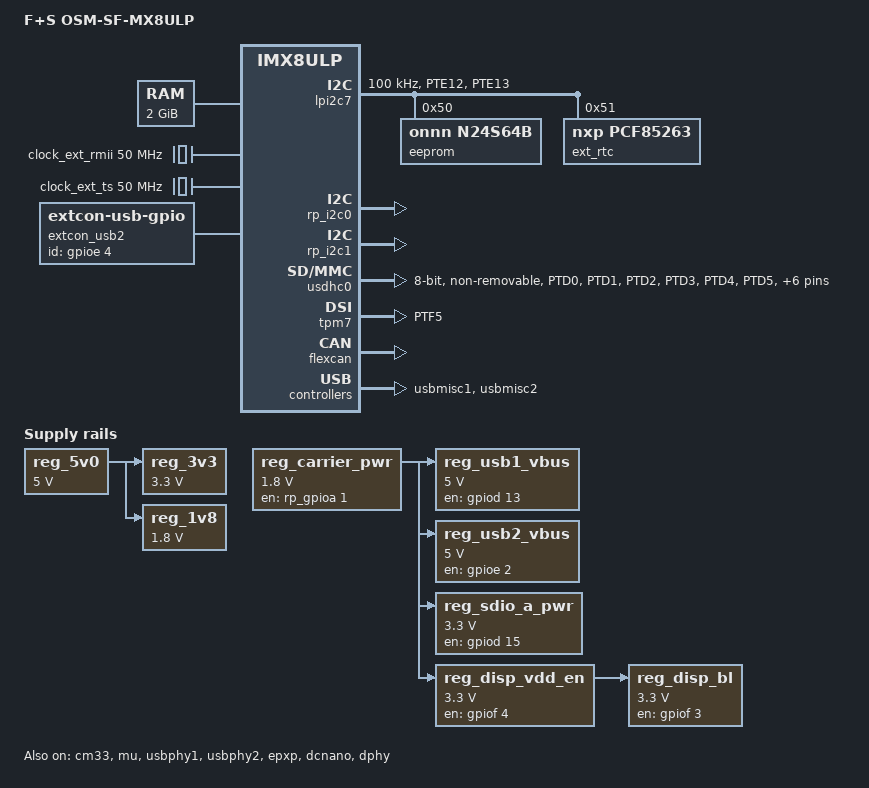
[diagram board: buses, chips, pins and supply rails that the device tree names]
// SPDX-License-Identifier: GPL-2.0
/*
* Copyright 2024 F&S Elektronik Systeme GmbH
*
* This program is free software; you can redistribute it and/or modify
* it under the terms of the GNU General Public License version 2 as
* published by the Free Software Foundation.
*
* This program is distributed in the hope that it will be useful,
* but WITHOUT ANY WARRANTY; without even the implied warranty of
* MERCHANTABILITY or FITNESS FOR A PARTICULAR PURPOSE.  See the
* GNU General Public License for more details.
*/

/dts-v1/;

#include "imx8ulp.dtsi"
#include "fsimx8ulp-rpmsg.dtsi"
#include <dt-bindings/rtc/pcf85363.h>
#include <dt-bindings/input/input.h>
#include <fsversion.h>

#ifndef OSM8ULP_REV
#define OSM8ULP_REV 110
#endif

osm_eth_a: &fec {};
osm_uart_con: &lpuart5 {};
osm_uart_a: &lpuart6 {};
osm_uart_c: &tty1_rpchip {};
osm_uart_d: &tty0_rpchip {};
osm_i2c_int: &lpi2c4 {};
osm_i2c_a: &lpi2c7 {};
osm_i2c_b: &rp_i2c0{};
osm_i2c_cam: &rp_i2c1{};
osm_usb_a: &usbotg1 {};
osm_usb_b: &usbotg2 {};
emmc: &usdhc0 {};
osm_sdio_a: &usdhc1{};
osm_dsi_pwm: &tpm7 {};
osm_pwm_1: &tpm1_rpchip {};
osm_pwm_2: &tpm0_rpchip {};
osm_pwm_3_4: &tpm2_rpchip {};
osm_can_a: &flexcan{};
osm_spi_b: &spidev0_rpchip {};

/ {
	model = "F+S OSM-SF-MX8ULP";
	compatible = "fus,fs-osm-sf-mx8ulp", "fsl,imx8ulp";

	chosen {
		bootargs = "console=ttyLP0, 115200";
		stdout-path = &osm_uart_con;
	};

	/delete-node/ aliases;
	aliases {
		ethernet0 = &osm_eth_a;
		serial0 = &osm_uart_con;
		serial1 = &osm_uart_a;
		serial2 = &osm_uart_c;
		serial3 = &osm_uart_d;
		i2c0 = &osm_i2c_int;
		i2c1 = &osm_i2c_a;
		i2c2 = &osm_i2c_b;
		i2c3 = &osm_i2c_cam;
		spi1 = &osm_spi_b;
		mmc0 = &emmc;
		mmc1 = &osm_sdio_a;
		gpio0 = &rp_gpioa;
		gpio1 = &rp_gpiob;
		gpio2 = &rp_gpioc;
		gpio3 = &gpiod;
		gpio4 = &gpioe;
		gpio5 = &gpiof;
		usbphy0 = &usbphy1;
		usbphy1 = &usbphy2;
		usb0 = &osm_usb_a;
		usb1 = &osm_usb_b;
		rtc0 = &ext_rtc;
		pwm0 = &osm_dsi_pwm;
		pwm1 = &osm_pwm_1;
		pwm2 = &osm_pwm_2;
		pwm3 = &osm_pwm_3_4;
		/* pwm 1,2,3,4,5 via m33 */
		isi0 = &isi_0;
		csi0 = &mipi_csi0;
	};

	/* -------------------- BOARD INFO -------------------- */
	bdinfo: bdinfo {
		compatible = "bdinfo";
		dts_version = FS_LINUX_VERSION;
	};

	memory@80000000 {
		/* fixup in u-boot */
		device_type = "memory";
		reg = <0x0 0x80000000 0 0x80000000>;
	};

	reserved-memory {
		#address-cells = <2>;
		#size-cells = <2>;
		ranges;

		linux,cma {
			compatible = "shared-dma-pool";
			reusable;
			size = <0 0x10000000>; /* 256MB */
			linux,cma-default;
		};

		ele_reserved: ele-reserved@90000000 {
			compatible = "shared-dma-pool";
			reg = <0 0x90000000 0 0x100000>;
			no-map;
		};
	};

	regulators {
		compatible = "simple-bus";
		#address-cells = <1>;
		#size-cells = <0>;

		reg_5v0: regulator-5v {
			compatible = "regulator-fixed";
			regulator-name = "5V0";
			regulator-min-microvolt = <5000000>;
			regulator-max-microvolt = <5000000>;
			regulator-always-on;
			regulator-boot-on;
		};

		reg_3v3: regulator-3v3 {
			compatible = "regulator-fixed";
			regulator-name = "3V3";
			regulator-min-microvolt = <3300000>;
			regulator-max-microvolt = <3300000>;
			vin-supply = <&reg_5v0>;
			regulator-always-on;
			regulator-boot-on;
		};

		reg_1v8: regulator-1v8 {
			compatible = "regulator-fixed";
			regulator-name = "1V8";
			regulator-min-microvolt = <1800000>;
			regulator-max-microvolt = <1800000>;
			vin-supply = <&reg_5v0>;
			regulator-always-on;
			regulator-boot-on;
		};

		reg_carrier_pwr: regulator_carrier {
			compatible = "regulator-fixed";
			regulator-name = "carrier_pwr";
			regulator-min-microvolt = <1800000>;
			regulator-max-microvolt = <1800000>;
			gpio = <&rp_gpioa 1 GPIO_ACTIVE_HIGH>;
			enable-active-high;
			regulator-always-on;
			regulator-boot-on;
		};

		reg_usb1_vbus: regulator-usb1-vbus {
			compatible = "regulator-fixed";
			regulator-name = "usb1_vbus";
			regulator-min-microvolt = <5000000>;
			regulator-max-microvolt = <5000000>;
			gpio = <&gpiod 13 GPIO_ACTIVE_HIGH>;
			vin-supply = <&reg_carrier_pwr>;
			enable-active-high;
		};

		reg_usb2_vbus: regulator-usb2-vbus {
			compatible = "regulator-fixed";
			regulator-name = "usb2_vbus";
			regulator-min-microvolt = <5000000>;
			regulator-max-microvolt = <5000000>;
			gpio = <&gpioe 2 GPIO_ACTIVE_HIGH>;
			vin-supply = <&reg_carrier_pwr>;
			enable-active-high;
		};

		reg_sdio_a_pwr: regulator-sdioa-en {
			compatible = "regulator-fixed";
			regulator-name = "sdio-pwr";
			gpio = <&gpiod 15 GPIO_ACTIVE_HIGH>;
			regulator-min-microvolt = <3300000>;
			regulator-max-microvolt = <3300000>;
			vin-supply = <&reg_carrier_pwr>;
			enable-active-high;
		};

		reg_disp_vdd_en: regulator_disp_vdd_en {
			compatible = "regulator-fixed";
			regulator-name = "display-vdd-en";
			gpio = <&gpiof 4 GPIO_ACTIVE_HIGH>;
			regulator-min-microvolt = <3300000>;
			regulator-max-microvolt = <3300000>;
			vin-supply = <&reg_carrier_pwr>;
			enable-active-high;
		};

		reg_disp_bl: regulator_disp_bl {
			compatible = "regulator-fixed";
			regulator-name = "display-bl-en";
			gpio = <&gpiof 3 GPIO_ACTIVE_HIGH>;
			regulator-min-microvolt = <3300000>;
			regulator-max-microvolt = <3300000>;
			vin-supply = <&reg_disp_vdd_en>;
			enable-active-high;
		};
	};

	clock_ext_rmii: clock-ext-rmii {
		compatible = "fixed-clock";
		clock-frequency = <50000000>;
		clock-output-names = "ext_rmii_clk";
		#clock-cells = <0>;
	};

	clock_ext_ts: clock-ext-ts {
		compatible = "fixed-clock";
		clock-frequency = <50000000>;
		clock-output-names = "ext_ts_clk";
		#clock-cells = <0>;
	};

	backlight_dpi: backlight_dpi {
		compatible = "pwm-backlight";
		power-supply = <&reg_disp_bl>;
		pwms = <&osm_dsi_pwm 0 100000 0>;
		brightness-levels = <0 1 5 10 18 28 41 56
				     73 92 113 137 163 192 222 255>;
		default-brightness-level = <14>;
		status = "disabled";
	};

	extcon_usb2: extcon_usb2 {
		compatible = "linux,extcon-usb-gpio";
		id-gpio = <&gpioe 4 GPIO_ACTIVE_HIGH>;
	};
};

/* SUPPORT_RPMSG */
&{/reserved-memory} {
	m33_reserved: noncacheable-section@a8600000 {
		reg = <0 0xa8600000 0 0x1000000>;
		no-map;
	};

	rsc_table: rsc-table@1fff8000{
		reg = <0 0x1fff8000 0 0x1000>;
		no-map;
	};

	vdev0vring0: vdev0vring0@aff00000 {
		reg = <0 0xaff00000 0 0x8000>;
		no-map;
	};

	vdev0vring1: vdev0vring1@aff08000 {
		reg = <0 0xaff08000 0 0x8000>;
		no-map;
	};

	vdev1vring0: vdev1vring0@aff10000 {
		reg = <0 0xaff10000 0 0x8000>;
		no-map;
	};

	vdev1vring1: vdev1vring1@aff18000 {
		reg = <0 0xaff18000 0 0x8000>;
		no-map;
	};

	vdevbuffer: vdevbuffer@a8400000 {
		compatible = "shared-dma-pool";
		reg = <0 0xa8400000 0 0x100000>;
		no-map;
	};

	audio_reserved: audio@a8500000 {
			compatible = "shared-dma-pool";
			no-map;
			reg = <0 0xa8500000 0 0x100000>;
	};
};

/* remoteproc */
&cm33 {
	mbox-names = "tx", "rx", "rxdb";
	mboxes = <&mu 0 1>,
		 <&mu 1 1>,
		 <&mu 3 1>;
	memory-region = <&vdevbuffer>, <&vdev0vring0>, <&vdev0vring1>,
			<&vdev1vring0>, <&vdev1vring1>, <&rsc_table>;
	status = "okay";
};

/* MU M33 <--> A35 */
&mu {
	status = "okay";
};

&rp_i2c0 {
	#address-cells = <1>;
	#size-cells = <0>;
	status = "okay";
};

&rp_i2c1 {
	#address-cells = <1>;
	#size-cells = <0>;
	status = "okay";
};

&rp_gpioa {
	status = "okay";
	gpio-line-names =
	/* 0-4 */   "GPIO_B_3", "CARRIER_PWR_EN", "UART_B_TX", "UART_B_RX",
				"SPI_B_SDI",
	/* 5-9 */   "SPI_B_SDO", "SPI_B_SCK", "SPI_B_CS0", "SPI_B_CS1", "PWM_1",
	/* 10-14 */ "UART_D_TX", "UART_D_RX", "CAN_A_TX", "CAN_A_RX", "I2C_B_SCL",
	/* 15-19 */ "I2C_B_SDA", "UART_B_CTS", "UART_B_RTS", "PWM_2", "JTAG_TRST",
	/* 20-24 */ "JTAG_TMS", "JTAG_TDO", "JTAG_TDI", "JTAG_TCK", "GPIO_B_4",
	/* 25-29 */ "", "", "", "", "",
	/* 30-31 */ "","";
};

&rp_gpiob {
	status = "okay";
	gpio-line-names =
	/* 0-4 */   "I2C_CAM_SCL", "I2C_CAM_SDA", "UART_C_TX", "UART_C_RX",
				"PMIC_WDOG",
	/* 5-9 */   "GPIO_B_1", "GPIO_B_2", "PMIC_MODE2", "PMIC_MODE1",
				"PMIC_MODE0",
	/* 10-14 */ "PMIC_I2C_SDA", "PMIC_I2C_SCL", "CAM_MCK", "CAM_EN", "CAM_RST",
	/* 15-19 */ "PMIC_IRQ", "", "", "", "",
	/* 20-24 */ "", "", "", "", "",
	/* 25-29 */ "", "", "", "", "",
	/* 30-31 */ "","";
};

&rp_gpioc {
	status = "okay";
	gpio-line-names =
	/* 0-4 */   "GPIO_A_0", "PWM_3", "PWM_4", "GPIO_A_1", "I2S_A_DATA_IN",
	/* 5-9 */   "I2S_B_DATA_IN", "I2S_B_DATA_OUT", "I2S_A_DATA_OUT",
				"I2S_BITCLK", "I2S_LRCLK",
	/* 10-14 */ "I2S_MCLK", "GPIO_A_2", "pSRAM_DQS", "pSRAM_DQ7", "pSRAM_DQ6",
	/* 15-19 */ "pSRAM_DQ5", "pSRAM_DQ4", "pSRAM_CS", "pSRAM_CLK", "pSRAM_DQ3",
	/* 20-24 */ "pSRAM_DQ2", "pSRAM_DQ1", "pSRAM_DQ0", "SPI_A_CS0", "",
	/* 25-29 */ "", "", "", "", "",
	/* 30-31 */ "", "";
};
/* END: SUPPORT_RPMSG */

/* ETHERNET decleration */
&osm_eth_a {
	pinctrl-names = "default", "sleep";
	pinctrl-0 = <&pinctrl_enet>;
	pinctrl-1 = <&pinctrl_enet>;
	clocks = <&cgc1 IMX8ULP_CLK_XBAR_DIVBUS>,
		 <&pcc4 IMX8ULP_CLK_ENET>,
		 <&cgc1 IMX8ULP_CLK_ENET_TS_SEL>,
		 <&clock_ext_rmii>;
	clock-names = "ipg", "ahb", "ptp", "enet_clk_ref";
	assigned-clocks = <&cgc1 IMX8ULP_CLK_ENET_TS_SEL>;
	assigned-clock-parents = <&clock_ext_ts>;
	status = "disabled";

	mdio {
		#address-cells = <1>;
		#size-cells = <0>;
	};
};

/* UART decleration */
&osm_uart_con {
	pinctrl-names = "default", "sleep";
	pinctrl-0 = <&pinctrl_lpuart5>;
	pinctrl-1 = <&pinctrl_lpuart5>;
	status = "disabled";
};

&osm_uart_a {
	pinctrl-names = "default", "sleep";
	pinctrl-0 = <&pinctrl_lpuart6>;
	pinctrl-1 = <&pinctrl_lpuart6>;
	status = "disabled";
};

/* I2C decleration */
&osm_i2c_int {
	#address-cells = <1>;
	#size-cells = <0>;
	clock-frequency = <100000>;
	pinctrl-names = "default";
	pinctrl-0 = <&pinctrl_lpi2c4>;
	status = "disable";
#if OSM8ULP_REV == 100
	status = "okay";
	ext_rtc: rtc85263@51 {
		compatible = "nxp,pcf85263";
		reg = <0x51>;
		clock-out = <PCF85363_COF_32768Hz>;
		quartz-load-femtofarads = <PCF85363_CAP_12p5pF>;
		quartz-drive-strength = <PCF85363_OSC_DRIVE_LOW>;
	};
#endif
};

&osm_i2c_a {
	#address-cells = <1>;
	#size-cells = <0>;
	clock-frequency = <100000>;
	pinctrl-names = "default";
	pinctrl-0 = <&pinctrl_lpi2c7>;
	status = "okay";

	eeprom: eeprom@50 {
		compatible = "onnn,n24s64b", "atmel,24c64";
		reg = <0x50>;
		size = <8192>;
		pagesize = <32>;
	};

#if OSM8ULP_REV >= 110
	ext_rtc: rtc85263@51 {
		compatible = "nxp,pcf85263";
		reg = <0x51>;
		clock-out = <PCF85363_COF_32768Hz>;
		quartz-load-femtofarads = <PCF85363_CAP_12p5pF>;
		quartz-drive-strength = <PCF85363_OSC_DRIVE_LOW>;
	};
#endif
};

&osm_dsi_pwm {
	pinctrl-names = "default";
	pinctrl-0 = <&pinctrl_tpm7>;
};

&gpiod {
	pinctrl-names = "default";
	pinctrl-0 = <&pinctrl_gpiod>;
	gpio-line-names =
	/* 0-4   */ "SD_eMMC_RST", "SD_eMMC_CMD", "SD_eMMC_CLK", "SD_eMMC_D7",
				"SD_eMMC_D6",
	/* 5-9   */ "SD_eMMC_D5", "SD_eMMC_D4", "SD_eMMC_D3", "SD_eMMC_D2",
				"SD_eMMC_D1",
	/* 10-14 */ "SD_eMMC_D0", "SD_eMMC_DS", "USB_A_ID", "USB_A_EN", "USB_A_OC",
	/* 15-19 */ "SDIO_A_PWR_EN", "SDIO_A_CD", "SDIO_A_WP", "SDIO_A_D3",
				"SDIO_A_D2",
	/* 20-24 */ "SDIO_A_D1", "SDIO_A_D0", "SDIO_A_CLK", "SDIO_A_CMD", "",
	/* 25-29 */ "", "", "", "", "",
	/* 30-31 */ "", "";
	status = "okay";
};

&gpioe {
	pinctrl-names = "default";
	pinctrl-0 = <&pinctrl_gpioe>;
	gpio-line-names =
	/* 0-4 */   "GPIO_C_0", "GPIO_C_1", "USB_B_EN", "ETH_A_RMII_TX_CLK",
			 	"USB_B_ID",
	/* 5-9 */   "USB_B_OC", "UART_CON_TX", "UART_CON_RX", "UART_A_CTS",
				"UART_A_RTS",
	/* 10-14 */ "UART_A_TX", "UART_A_RX", "I2C_A_SCL", "I2C_A_SDA", "ETH_MDIO",
	/* 15-19 */ "ETH_MDC", "ETH_A_RMII_TX_EN(_ER)", "ETH_A_RMII_RX_ER",
				"ETH_A_RMII_RX_DV(_ER)", "ETH_A_RMII_RX_CLK",
	/* 20-24 */ "ETH_A_RMII_RXD1", "ETH_A_RMII_RXD0", "ETH_A_RMII_TXD1",
				"ETH_A_RMII_TXD0", "",
	/* 25-29 */ "", "", "", "", "",
	/* 30-31 */ "", "";
	status = "okay";
};

&gpiof {
	pinctrl-names = "default";
	pinctrl-0 = <&pinctrl_gpiof>;
	/* DISP_BL_EN and DISP_BL_PWM may be swaped */
	gpio-line-names =
	/* 0-4 */ "RGB_RST", "RGB_DISP_EN", "RGB_CS", "DISP_BL_EN", "DISP_VDD_EN",
	/* 5-9 */ "DISP_BL_PWM", "RGB_D17", "RGB_D16", "RGB_D15", "RGB_D14",
	/* 10-14 */ "RGB_D13", "RGB_D12", "RGB_D11", "RGB_D10", "RGB_D09",
	/* 15-19 */ "RGB_D08", "RGB_D07", "RGB_D06", "RGB_D05", "RGB_D04",
	/* 20-24 */ "RGB_D03", "RGB_D02", "RGB_D01", "RGB_D00", "RGB_CLK",
	/* 25-29 */ "RGB_VSYNC", "RGB_HSYNC", "RGB_DE", "DSI_TE", "GPIO_B_7",
	/* 30-31 */ "GPIO_B_6", "GPIO_B_5";
	status = "okay";
};

/* USDHC decleration */
&emmc {
	pinctrl-names = "default", "state_100mhz", "state_200mhz", "sleep";
	pinctrl-0 = <&pinctrl_usdhc0>;
	pinctrl-1 = <&pinctrl_usdhc0>;
	pinctrl-2 = <&pinctrl_usdhc0>;
	pinctrl-3 = <&pinctrl_usdhc0>;
	bus-width = <8>;
	non-removable;
	// vmmc-supply = <&reg_3v3>;
	// vqmmc-supply = <&reg_1v8>;
	status = "okay";
};

&osm_sdio_a {
	pinctrl-names = "default", "state_100mhz", "state_200mhz", "sleep";
	pinctrl-0 = <&pinctrl_usdhc1>;
	pinctrl-1 = <&pinctrl_usdhc1>;
	pinctrl-2 = <&pinctrl_usdhc1>;
	pinctrl-3 = <&pinctrl_usdhc1>;
	bus-width = <4>;
	vmmc-supply = <&reg_sdio_a_pwr>;
	vqmmc-supply = <&reg_sdio_a_pwr>;
	status = "disabled";
};

/* CAN decleration */
&osm_can_a {
	status = "okay";
};

/* USB decleration */
&usbmisc1 {
	status = "okay";
};

&usbphy1 {
	status = "okay";
};

&osm_usb_a {
	pinctrl-names = "default", "sleep";
	pinctrl-0 = <&pinctrl_otgid1>;
	pinctrl-1 = <&pinctrl_otgid1>;
	vbus-supply = <&reg_usb1_vbus>;
	status = "disabled";
};

&usbmisc2 {
	status = "okay";
};

&usbphy2 {
	status = "okay";
};

&osm_usb_b {
	vbus-supply = <&reg_usb2_vbus>;
	extcon = <&extcon_usb2>;
	status = "disabled";
};

/* Secure Enclave */
&ele_fw2 {
	memory-region = <&ele_reserved>;
};

&epxp {
	status = "okay";
};

&dcnano {
	status = "okay";
};

&dphy {
	status = "okay";
};

&iomuxc1 {
	pinctrl_enet: enetgrp {
		fsl,pins = <
			MX8ULP_PAD_PTE3__ENET0_TXCLK	0x43
			MX8ULP_PAD_PTE14__ENET0_MDIO	0x43
			MX8ULP_PAD_PTE15__ENET0_MDC	0x43
			MX8ULP_PAD_PTE16__ENET0_TXEN	0x43
			MX8ULP_PAD_PTE17__ENET0_RXER	0x43
			MX8ULP_PAD_PTE18__ENET0_CRS_DV	0x43
			MX8ULP_PAD_PTE19__ENET0_REFCLK	0x43
			MX8ULP_PAD_PTE20__ENET0_RXD1	0x43
			MX8ULP_PAD_PTE21__ENET0_RXD0	0x43
			MX8ULP_PAD_PTE22__ENET0_TXD1	0x43
			MX8ULP_PAD_PTE23__ENET0_TXD0	0x43
		>;
	};

	pinctrl_lpuart5: lpuart5grp {
		fsl,pins = <
			MX8ULP_PAD_PTE6__LPUART5_TX	0x3
			MX8ULP_PAD_PTE7__LPUART5_RX 	0x3
		>;
	};

	pinctrl_lpuart6: lpuart6grp {
		fsl,pins = <
			MX8ULP_PAD_PTE8__LPUART6_CTS_B	0x3
			MX8ULP_PAD_PTE9__LPUART6_RTS_B	0x3
			MX8ULP_PAD_PTE10__LPUART6_TX	0x3
			MX8ULP_PAD_PTE11__LPUART6_RX	0x3
		>;
	};

	pinctrl_lpi2c4: lpi2c4grp {
		fsl,pins = <
			MX8ULP_PAD_PTE0__LPI2C4_SCL	0x20
			MX8ULP_PAD_PTE1__LPI2C4_SDA	0x20
		>;
	};

	pinctrl_lpi2c7: lpi2c7grp {
		fsl,pins = <
			MX8ULP_PAD_PTE12__LPI2C7_SCL	0x20
			MX8ULP_PAD_PTE13__LPI2C7_SDA	0x20
		>;
	};

	pinctrl_tpm7: tpm7grp {
		fsl,pins = <
			MX8ULP_PAD_PTF5__TPM7_CH0	0x40
		>;
	};

	pinctrl_usdhc0: usdhc0grp {
		fsl,pins = <
			MX8ULP_PAD_PTD0__SDHC0_RESET_B 		0x3
			MX8ULP_PAD_PTD1__SDHC0_CMD		0x3
			MX8ULP_PAD_PTD2__SDHC0_CLK		0x10002
			MX8ULP_PAD_PTD3__SDHC0_D7		0x3
			MX8ULP_PAD_PTD4__SDHC0_D6		0x3
			MX8ULP_PAD_PTD5__SDHC0_D5		0x3
			MX8ULP_PAD_PTD6__SDHC0_D4		0x3
			MX8ULP_PAD_PTD7__SDHC0_D3		0x3
			MX8ULP_PAD_PTD8__SDHC0_D2		0x3
			MX8ULP_PAD_PTD9__SDHC0_D1		0x3
			MX8ULP_PAD_PTD10__SDHC0_D0		0x3
			MX8ULP_PAD_PTD11__SDHC0_DQS		0x10002
		>;
	};

	pinctrl_usdhc1: usdhc1grp {
		fsl,pins = <
			MX8ULP_PAD_PTD18__SDHC1_D3	0x3
			MX8ULP_PAD_PTD19__SDHC1_D2	0x3
			MX8ULP_PAD_PTD20__SDHC1_D1	0x3
			MX8ULP_PAD_PTD21__SDHC1_D0	0x3
			MX8ULP_PAD_PTD22__SDHC1_CLK	0x10002
			MX8ULP_PAD_PTD23__SDHC1_CMD	0x3
			MX8ULP_PAD_PTD16__SDHC1_CD	0x3
			MX8ULP_PAD_PTD17__SDHC1_WP	0x3
		>;
	};

	pinctrl_otgid1: usb1grp {
		fsl,pins = <
			MX8ULP_PAD_PTD12__USB0_ID	0x10003
			MX8ULP_PAD_PTD13__USB0_PWR	0x2
			MX8ULP_PAD_PTD14__USB0_OC	0x10003
		>;
	};

	pinctrl_gpiod: gpiodgrp {
		fsl,pins = <
			MX8ULP_PAD_PTD15__PTD15		0x2
		>;
	};

	pinctrl_gpioe: gpioegrp {
		fsl,pins = <
#if OSM8ULP_REV == 110
			MX8ULP_PAD_PTE0__PTE0		0x2
			MX8ULP_PAD_PTE1__PTE1		0x2
#endif
			MX8ULP_PAD_PTE2__PTE2		0x2
			MX8ULP_PAD_PTE4__PTE4		0x2
			MX8ULP_PAD_PTE5__PTE5		0x2
		>;
	};

	pinctrl_gpiof: gpiofgrp {
		fsl,pins = <
			MX8ULP_PAD_PTF2__PTF2		0x2
			MX8ULP_PAD_PTF3__PTF3		0x3
			MX8ULP_PAD_PTF4__PTF4		0x2
			MX8ULP_PAD_PTF29__PTF29		0x2
			MX8ULP_PAD_PTF30__PTF30		0x2
			MX8ULP_PAD_PTF31__PTF31		0x2
		>;
	};

	pinctrl_rgb: rgbgrp {
		fsl,pins = <
			MX8ULP_PAD_PTF6__DPI0_D17       0x3
			MX8ULP_PAD_PTF7__DPI0_D16       0x3
			MX8ULP_PAD_PTF8__DPI0_D15       0x3
			MX8ULP_PAD_PTF9__DPI0_D14       0x3
			MX8ULP_PAD_PTF10__DPI0_D13      0x3
			MX8ULP_PAD_PTF11__DPI0_D12      0x3
			MX8ULP_PAD_PTF12__DPI0_D11      0x3
			MX8ULP_PAD_PTF13__DPI0_D10      0x3
			MX8ULP_PAD_PTF14__DPI0_D9       0x3
			MX8ULP_PAD_PTF15__DPI0_D8       0x3
			MX8ULP_PAD_PTF16__DPI0_D7       0x3
			MX8ULP_PAD_PTF17__DPI0_D6       0x3
			MX8ULP_PAD_PTF18__DPI0_D5       0x3
			MX8ULP_PAD_PTF19__DPI0_D4       0x3
			MX8ULP_PAD_PTF20__DPI0_D3       0x3
			MX8ULP_PAD_PTF21__DPI0_D2       0x3
			MX8ULP_PAD_PTF22__DPI0_D1       0x3
			MX8ULP_PAD_PTF23__DPI0_D0       0x3
			MX8ULP_PAD_PTF24__DPI0_PCLK     0x3
			MX8ULP_PAD_PTF25__DPI0_VSYNC    0x3
			MX8ULP_PAD_PTF26__DPI0_HSYNC    0x3
			MX8ULP_PAD_PTF27__DPI0_DE       0x3
		>;
	};
};
